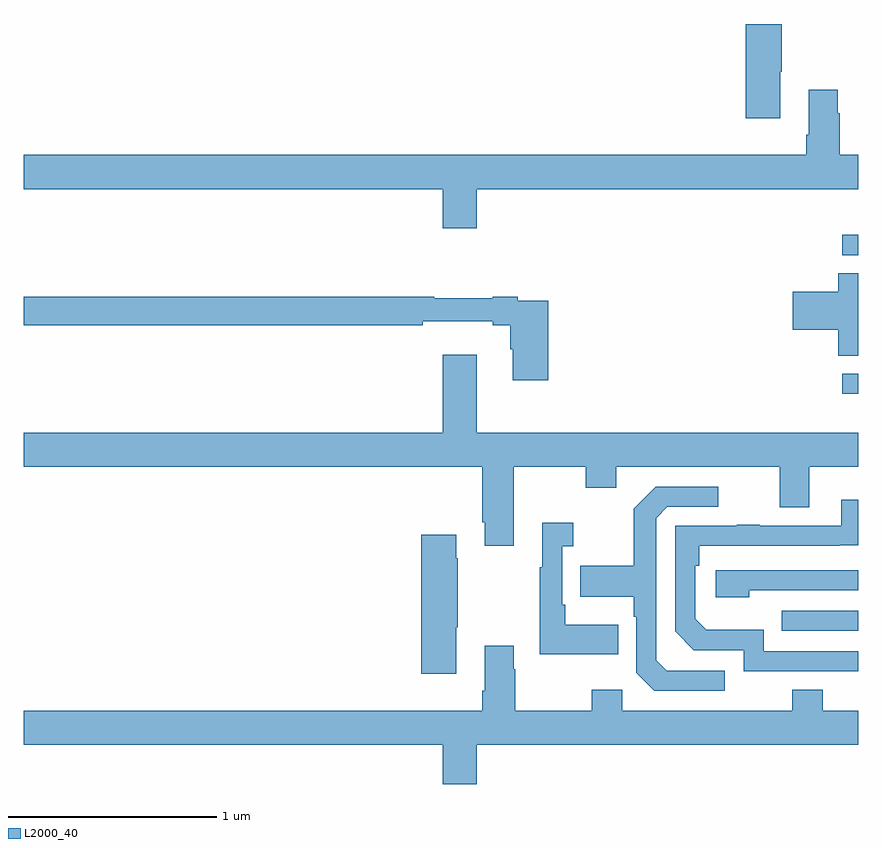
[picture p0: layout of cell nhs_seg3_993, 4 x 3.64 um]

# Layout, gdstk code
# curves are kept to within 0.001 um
import gdstk
lib = gdstk.Library(unit=1e-6, precision=1e-09)
def R(c, l, rs):  # rectangles x0, y0, x1, y1
    for r in rs: c.add(gdstk.rectangle(r[:2], r[2:], *l))
def P(c, l, *ps):  # polygons
    for p in ps: c.add(gdstk.Polygon(p, *l))
L2000_40 = (2000, 40)

nhs_seg3_993 = lib.new_cell('nhs_seg3_993')
R(nhs_seg3_993, L2000_40, [(166.633,673.491,167,673.587), (166.923,674.628,167,674.724), (166.923,675.291,167,675.39)])
P(nhs_seg3_993, L2000_40, [(166.627,676.171),(166.635,676.171),(166.635,676.4),(166.46,676.4),(166.46,675.948),(166.627,675.948)],
  [(165.172,675.608),(167,675.608),(167,675.772),(166.911,675.772),(166.911,675.971),(166.903,675.971),(166.903,676.084),(166.763,676.084),(166.763,675.868),(166.751,675.868),(166.751,675.772),(163,675.772),(163,675.608),(165.008,675.608),(165.008,675.42),(165.172,675.42)],
  [(167,675.206),(166.904,675.206),(166.904,675.116),(166.686,675.116),(166.686,674.933),(166.904,674.933),(166.904,674.809),(167,674.809)],
  [(165.515,675.072),(165.368,675.072),(165.368,675.092),(165.248,675.092),(165.248,675.085),(164.968,675.085),(164.968,675.092),(163,675.092),(163,674.956),(164.912,674.956),(164.912,674.975),(165.248,674.975),(165.248,674.956),(165.332,674.956),(165.332,674.841),(165.344,674.841),(165.344,674.691),(165.515,674.691)],
  [(165.349,674.276),(165.694,674.276),(165.694,674.177),(165.841,674.177),(165.841,674.276),(166.625,674.276),(166.625,674.082),(166.765,674.082),(166.765,674.276),(167,674.276),(167,674.44),(165.172,674.44),(165.172,674.815),(165.008,674.815),(165.008,674.44),(163,674.44),(163,674.276),(165.197,674.276),(165.197,674.011),(165.209,674.011),(165.209,673.899),(165.349,673.899)],
  [(166.36,673.299),(166.083,673.299),(166.032,673.35),(166.032,674.031),(166.086,674.085),(166.33,674.085),(166.33,674.181),(166.029,674.181),(165.924,674.075),(165.924,673.803),(165.667,673.803),(165.667,673.655),(165.924,673.655),(165.924,673.559),(165.936,673.559),(165.936,673.29),(166.023,673.203),(166.36,673.203)],
  [(167,673.392),(166.548,673.392),(166.548,673.495),(166.271,673.495),(166.218,673.548),(166.218,673.802),(166.238,673.802),(166.238,673.899),(167,673.9),(167,674.119),(166.919,674.119),(166.919,673.995),(166.529,673.995),(166.529,674),(166.417,674),(166.417,673.995),(166.122,673.995),(166.122,673.488),(166.212,673.398),(166.452,673.398),(166.452,673.296),(167,673.296)],
  [(165.851,673.519),(165.595,673.519),(165.595,673.615),(165.582,673.615),(165.582,673.895),(165.634,673.895),(165.634,674.008),(165.485,674.008),(165.485,673.795),(165.474,673.795),(165.474,673.379),(165.851,673.379)],
  [(165.073,673.507),(165.081,673.507),(165.081,673.838),(165.073,673.838),(165.073,673.951),(164.906,673.951),(164.906,673.284),(165.073,673.284)],
  [(166.478,673.686),(167,673.686),(167,673.782),(166.317,673.782),(166.317,673.652),(166.478,673.652)],
  [(165.172,672.944),(167,672.944),(167,673.108),(166.831,673.108),(166.831,673.207),(166.684,673.207),(166.684,673.108),(165.87,673.108),(165.87,673.207),(165.724,673.207),(165.724,673.108),(165.357,673.108),(165.357,673.307),(165.349,673.307),(165.349,673.42),(165.209,673.42),(165.209,673.204),(165.197,673.204),(165.197,673.108),(163,673.108),(163,672.944),(165.008,672.944),(165.008,672.756),(165.172,672.756)])

lib.write_gds('nhs_seg3_993.gds')
